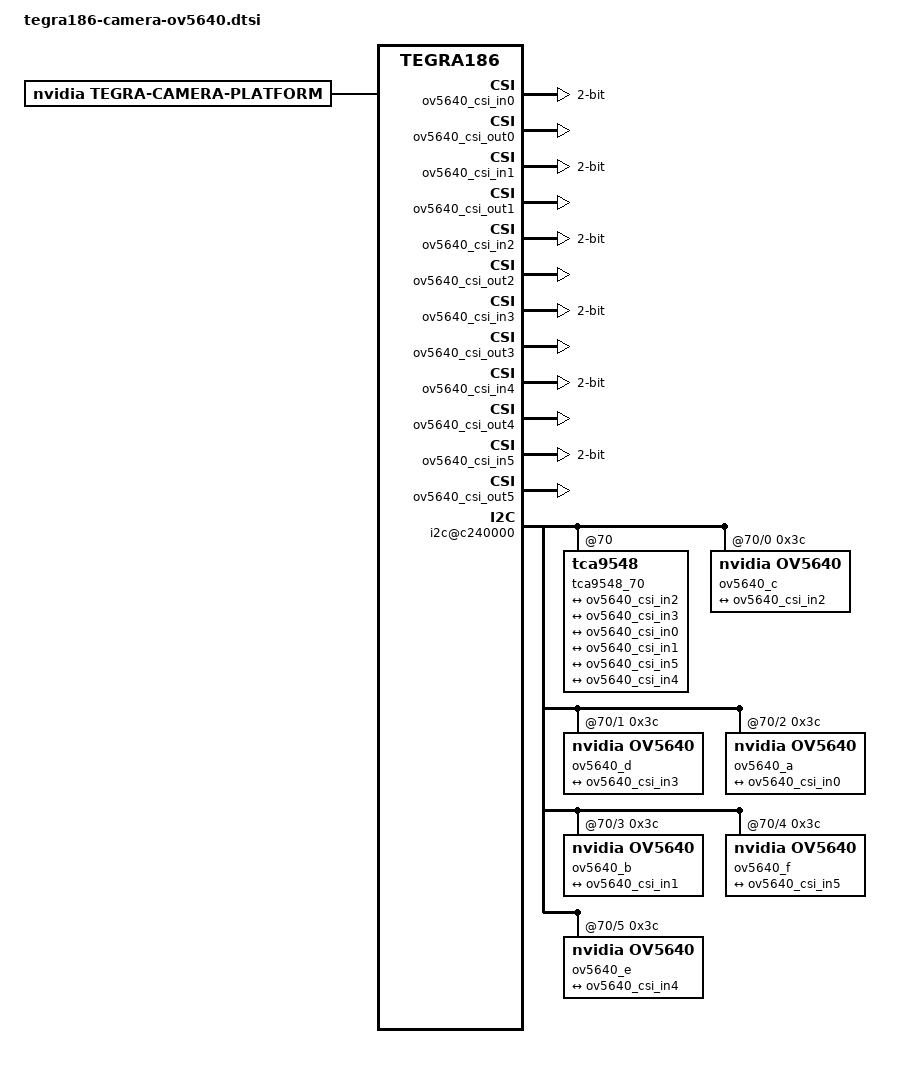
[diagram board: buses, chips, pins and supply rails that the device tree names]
/*
 * Copyright (c) 2015-2017, NVIDIA CORPORATION.  All rights reserved.
 *
 * This program is free software; you can redistribute it and/or modify
 * it under the terms of the GNU General Public License as published by
 * the Free Software Foundation; either version 2 of the License, or
 * (at your option) any later version.
 *
 * This program is distributed in the hope that it will be useful, but WITHOUT
 * ANY WARRANTY; without even the implied warranty of MERCHANTABILITY or
 * FITNESS FOR A PARTICULAR PURPOSE.  See the GNU General Public License for
 * more details.
 *
 * You should have received a copy of the GNU General Public License
 * along with this program.  If not, see <http://www.gnu.org/licenses/>.
 */
 
/ {
	host1x {
		vi@15700000 {
			num-channels = <6>;
            #address-cells = <1>;
            #size-cells = <0>;
			ports {
				#address-cells = <1>;
				#size-cells = <0>;
				port@0 {
					reg = <0>;
                    status = "okay";
					ov5640_vi_in0: endpoint {
                        status = "okay";
						port-index = <0>;
						bus-width = <2>;
						remote-endpoint = <&ov5640_csi_out0>;
					};
				};
				port@1 {
					reg = <1>;
                    status = "okay";
					ov5640_vi_in1: endpoint {
                        status = "okay";
						port-index = <1>;
						bus-width = <2>;
						remote-endpoint = <&ov5640_csi_out1>;
					};
				};
				port@2 {
					reg = <2>;
                    status = "okay";
					ov5640_vi_in2: endpoint {
                        status = "okay";
						port-index = <2>;
						bus-width = <2>;
						remote-endpoint = <&ov5640_csi_out2>;
					};
				};
				port@3 {
					reg = <3>;
                    status = "okay";
					ov5640_vi_in3: endpoint {
                        status = "okay";
						port-index = <3>;
						bus-width = <2>;
						remote-endpoint = <&ov5640_csi_out3>;
					};
				};
				port@4 {
					reg = <4>;
                    status = "okay";
					ov5640_vi_in4: endpoint {
                        status = "okay";
						port-index = <4>;
						bus-width = <2>;
						remote-endpoint = <&ov5640_csi_out4>;
					};
				};
				port@5 {
					reg = <5>;
                    status = "okay";
					ov5640_vi_in5: endpoint {
                        status = "okay";
						port-index = <5>;
						bus-width = <2>;
						remote-endpoint = <&ov5640_csi_out5>;
					};
				};
			};
		};

		nvcsi@150c0000 {
			num-channels = <6>;
            #address-cells = <1>;
            #size-cells = <0>;
			channel@0 {
				reg = <0>;
                status = "okay";
				ports {
					#address-cells = <1>;
					#size-cells = <0>;
					port@0 {
						reg = <0>;
                        status = "okay";
						ov5640_csi_in0: endpoint@0 {
                            status = "okay";
							port-index = <0>;
							bus-width = <2>;
							remote-endpoint = <&ov5640_out0>;
						};
					};
					port@1 {
						reg = <1>;
                        status = "okay";
						ov5640_csi_out0: endpoint@1 {
                            status = "okay";
							remote-endpoint = <&ov5640_vi_in0>;
						};
					};
				};
			};
			channel@1 {
				reg = <1>;
                status = "okay";
				ports {
					#address-cells = <1>;
					#size-cells = <0>;
					port@0 {
						reg = <0>;
                        status = "okay";
						ov5640_csi_in1: endpoint@0 {
                            status = "okay";
							port-index = <1>;
							bus-width = <2>;
							remote-endpoint = <&ov5640_out1>;
						};
					};
					port@1 {
						reg = <1>;
                        status = "okay";
						ov5640_csi_out1: endpoint@1 {
                            status = "okay";
							remote-endpoint = <&ov5640_vi_in1>;
						};
					};
				};
			};
			channel@2 {
				reg = <2>;
                status = "okay";
				ports {
					#address-cells = <1>;
					#size-cells = <0>;
					port@0 {
						reg = <0>;
                        status = "okay";
						ov5640_csi_in2: endpoint@0 {
                            status = "okay";
							port-index = <2>;
							bus-width = <2>;
							remote-endpoint = <&ov5640_out2>;
						};
					};
					port@1 {
						reg = <1>;
                        status = "okay";
						ov5640_csi_out2: endpoint@1 {
                            status = "okay";
							remote-endpoint = <&ov5640_vi_in2>;
						};
					};
				};
			};
			channel@3 {
				reg = <3>;
                status = "okay";
				ports {
					#address-cells = <1>;
					#size-cells = <0>;
					port@0 {
						reg = <0>;
                        status = "okay";
						ov5640_csi_in3: endpoint@0 {
                            status = "okay";
							port-index = <3>;
							bus-width = <2>;
							remote-endpoint = <&ov5640_out3>;
						};
					};
					port@1 {
						reg = <1>;
                        status = "okay";
						ov5640_csi_out3: endpoint@1 {
                            status = "okay";
							remote-endpoint = <&ov5640_vi_in3>;
						};
					};
				};
			};
			channel@4 {
				reg = <4>;
                status = "okay";
				ports {
					#address-cells = <1>;
					#size-cells = <0>;
					port@0 {
						reg = <0>;
                        status = "okay";
						ov5640_csi_in4: endpoint@0 {
                            status = "okay";
							port-index = <4>;
							bus-width = <2>;
							remote-endpoint = <&ov5640_out4>;
						};
					};
					port@1 {
						reg = <1>;
                        status = "okay";
						ov5640_csi_out4: endpoint@1 {
                            status = "okay";
							remote-endpoint = <&ov5640_vi_in4>;
						};
					};
				};
			};
			channel@5 {
				reg = <5>;
                status = "okay";
				ports {
					#address-cells = <1>;
					#size-cells = <0>;
					port@0 {
						reg = <0>;
                        status = "okay";
						ov5640_csi_in5: endpoint@0 {
                            status = "okay";
							port-index = <5>;
							bus-width = <2>;
							remote-endpoint = <&ov5640_out5>;
						};
					};
					port@1 {
						reg = <1>;
                        status = "okay";
						ov5640_csi_out5: endpoint@1 {
                            status = "okay";
							remote-endpoint = <&ov5640_vi_in5>;
						};
					};
				};
			};	
		};
	};

	i2c@c240000 {
		tca9548_70: tca9548@70 {
            status = "okay";
            i2c@0 {
                
                status = "okay";
				reg = <0>;
				i2c-mux,deselect-on-exit;
				#address-cells = <1>;
				#size-cells = <0>;
				
				ov5640_c@3c {
                    status = "okay";
					compatible = "nvidia,ov5640";
					/* I2C device address */
					reg = <0x3c>;

					/* V4L2 device node location */
					devnode = "video0";

					/* Physical dimensions of sensor */
					physical_w = "3.674";
					physical_h = "2.738";
                    
					/* Define any required hw resources needed by driver */
					/* ie. clocks, io pins, power sources */
					avdd-reg = "vana";
					iovdd-reg = "vif";

					/* Sensor output flip settings */
					vertical-flip = "true";

					mode0 { //OV5693_MODE_1920x1080
						mclk_khz = "24000";
						num_lanes = "2";
						tegra_sinterface = "serial_c";
                        phy_mode = "DPHY";
                        discontinuous_clk = "no";
						dpcm_enable = "false";
						cil_settletime = "0";

						active_w = "1920";
						active_h = "1080";
						pixel_t = "uyvy";
						readout_orientation = "90";
						line_length = "2500";
						inherent_gain = "1";
						pix_clk_hz = "160000000";
						mclk_multiplier = "6.67";

						min_gain_val = "0";
						max_gain_val = "48";
						min_hdr_ratio = "1";
						max_hdr_ratio = "1";
						min_framerate = "1.816577";
						max_framerate = "30";
						min_exp_time = "34";
						max_exp_time = "660000";
						embedded_metadata_height = "0";
					};

					ports {
						#address-cells = <1>;
						#size-cells = <0>;

						port@0 {
							reg = <0>;
                            status = "okay";
							ov5640_out2: endpoint {
                                status = "okay";
								port-index = <2>;
								bus-width = <2>;
								remote-endpoint = <&ov5640_csi_in2>;
							};
						};
					};
		
				};	
	
			};


			

			i2c@1 {
                
                status = "okay";
				reg = <1>;
				i2c-mux,deselect-on-exit;
				#address-cells = <1>;
				#size-cells = <0>;

				ov5640_d@3c {
                    status = "okay";
					devnode = "video1";
					compatible = "nvidia,ov5640";
					/* I2C device address */
					reg = <0x3c>;

					/* V4L2 device node location */

					/* Physical dimensions of sensor */
					physical_w = "3.674";
					physical_h = "2.738";

					/* Define any required hw resources needed by driver */
					/* ie. clocks, io pins, power sources */
					avdd-reg = "vana";
					iovdd-reg = "vif";

					/* Sensor output flip settings */
					vertical-flip = "true";	

					mode0 { //OV5693_MODE_1920x1080
						mclk_khz = "24000";
						num_lanes = "2";
						tegra_sinterface = "serial_d";
                        phy_mode = "DPHY";
						discontinuous_clk = "no";
						dpcm_enable = "false";
						cil_settletime = "0";

						active_w = "1920";
						active_h = "1080";
						pixel_t = "uyvy";
						readout_orientation = "90";
						line_length = "2500";
						inherent_gain = "1";
						pix_clk_hz = "160000000";
						mclk_multiplier = "6.67";

						min_gain_val = "0";
						max_gain_val = "48";
						min_hdr_ratio = "1";
						max_hdr_ratio = "1";
						min_framerate = "1.816577";
						max_framerate = "30";
						min_exp_time = "34";
						max_exp_time = "660000";
						embedded_metadata_height = "0";
					};

					ports {
						#address-cells = <1>;
						#size-cells = <0>;

						port@0 {
							reg = <0>;
                            status = "okay";
							ov5640_out3: endpoint {
                                status = "okay";
								port-index = <3>;
								bus-width = <2>;
								remote-endpoint = <&ov5640_csi_in3>;
							};
						};
					};
		
				};		

			};

			i2c@2 {

                status = "okay";
				reg = <2>;
				i2c-mux,deselect-on-exit;
				#address-cells = <1>;
				#size-cells = <0>;
                
                ov5640_a@3c {
                    status = "okay";
					devnode = "video2";
					compatible = "nvidia,ov5640";
					/* I2C device address */
					reg = <0x3c>;

					/* V4L2 device node location */

					/* Physical dimensions of sensor */
					physical_w = "3.674";
					physical_h = "2.738";

					/* Define any required hw resources needed by driver */
					/* ie. clocks, io pins, power sources */
					avdd-reg = "vana";
					iovdd-reg = "vif";

					/* Sensor output flip settings */
					vertical-flip = "true";

					mode0 { //OV5693_MODE_1920x1080
						mclk_khz = "24000";
						num_lanes = "2";
						tegra_sinterface = "serial_a";
                        phy_mode = "DPHY";
						discontinuous_clk = "no";
						dpcm_enable = "false";
						cil_settletime = "0";

						active_w = "1920";
						active_h = "1080";
						pixel_t = "uyvy";
						readout_orientation = "90";
						line_length = "2500";
						inherent_gain = "1";
						pix_clk_hz = "160000000";
						mclk_multiplier = "6.67";

						min_gain_val = "0";
						max_gain_val = "48";
						min_hdr_ratio = "1";
						max_hdr_ratio = "1";
						min_framerate = "1.816577";
						max_framerate = "30";
						min_exp_time = "34";
						max_exp_time = "660000";
						embedded_metadata_height = "0";
					};
				
					ports {
						#address-cells = <1>;
						#size-cells = <0>;

						port@0 {
							reg = <0>;
                            status = "okay";
							ov5640_out0: endpoint {
                                status = "okay";
								port-index = <0>;
								bus-width = <2>;
								remote-endpoint = <&ov5640_csi_in0>;
							};
						};
					};
		
				};	
			

			};

			i2c@3 {
                
                status = "okay";
				reg = <3>;
				i2c-mux,deselect-on-exit;
				#address-cells = <1>;
				#size-cells = <0>;

				ov5640_b@3c {
                    status = "okay";
					devnode = "video3";
					compatible = "nvidia,ov5640";
					/* I2C device address */
					reg = <0x3c>;

					/* V4L2 device node location */

					/* Physical dimensions of sensor */
					physical_w = "3.674";
					physical_h = "2.738";

					/* Define any required hw resources needed by driver */
					/* ie. clocks, io pins, power sources */
					avdd-reg = "vana";
					iovdd-reg = "vif";

					/* Sensor output flip settings */
					vertical-flip = "true";
		
					mode0 { //OV5693_MODE_1920x1080
						mclk_khz = "24000";
						num_lanes = "2";
						tegra_sinterface = "serial_b";
                        phy_mode = "DPHY";
						discontinuous_clk = "no";
						dpcm_enable = "false";
						cil_settletime = "0";

						active_w = "1920";
						active_h = "1080";
						pixel_t = "uyvy";
						readout_orientation = "90";
						line_length = "2500";
						inherent_gain = "1";
						pix_clk_hz = "160000000";
						mclk_multiplier = "6.67";

						min_gain_val = "0";
						max_gain_val = "48";
						min_hdr_ratio = "1";
						max_hdr_ratio = "1";
						min_framerate = "1.816577";
						max_framerate = "30";
						min_exp_time = "34";
						max_exp_time = "660000";
						embedded_metadata_height = "0";
					};
					
					ports {
						#address-cells = <1>;
						#size-cells = <0>;

						port@0 {
							reg = <0>;
                            status = "okay";
							ov5640_out1: endpoint {
                                status = "okay";
								port-index = <1>;
								bus-width = <2>;
								remote-endpoint = <&ov5640_csi_in1>;
							};
						};
					};
		
				};

			};

			i2c@4 {
                
                status = "okay";
				reg = <4>;
				i2c-mux,deselect-on-exit;
				#address-cells = <1>;
				#size-cells = <0>;

				ov5640_f@3c {
                    status = "okay";
					devnode = "video4";
					compatible = "nvidia,ov5640";
					/* I2C device address */
					reg = <0x3c>;

					/* V4L2 device node location */

					/* Physical dimensions of sensor */
					physical_w = "3.674";
					physical_h = "2.738";

					/* Define any required hw resources needed by driver */
					/* ie. clocks, io pins, power sources */
					avdd-reg = "vana";
					iovdd-reg = "vif";

					/* Sensor output flip settings */
					vertical-flip = "true";
				
					mode0 { //OV5693_MODE_1920x1080
						mclk_khz = "24000";
						num_lanes = "2";
						tegra_sinterface = "serial_f";
                        phy_mode = "DPHY";
						discontinuous_clk = "no";
						dpcm_enable = "false";
						cil_settletime = "0";

						active_w = "1920";
						active_h = "1080";
						pixel_t = "uyvy";
						readout_orientation = "90";
						line_length = "2500";
						inherent_gain = "1";
						pix_clk_hz = "160000000";
						mclk_multiplier = "6.67";

						min_gain_val = "0";
						max_gain_val = "48";
						min_hdr_ratio = "1";
						max_hdr_ratio = "1";
						min_framerate = "1.816577";
						max_framerate = "30";
						min_exp_time = "34";
						max_exp_time = "660000";
						embedded_metadata_height = "0";
					};

					ports {
						#address-cells = <1>;
						#size-cells = <0>;

						port@0 {
							reg = <0>;
                            status = "okay";
							ov5640_out5: endpoint {
                                status = "okay";
								port-index = <5>;
								bus-width = <2>;
								remote-endpoint = <&ov5640_csi_in5>;
							};
						};
					};
		
				};

			};

			i2c@5 {
                
                status = "okay";
				reg = <5>;
				i2c-mux,deselect-on-exit;
				#address-cells = <1>;
				#size-cells = <0>;

				ov5640_e@3c {
                    status = "okay";
					devnode = "video5";
					compatible = "nvidia,ov5640";
					/* I2C device address */
					reg = <0x3c>;

					/* V4L2 device node location */

					/* Physical dimensions of sensor */
					physical_w = "3.674";
					physical_h = "2.738";

					/* Define any required hw resources needed by driver */
					/* ie. clocks, io pins, power sources */
					avdd-reg = "vana";
					iovdd-reg = "vif";

					/* Sensor output flip settings */
					vertical-flip = "true";
	
					mode0 { //OV5693_MODE_1920x1080
						mclk_khz = "24000";
						num_lanes = "2";
						tegra_sinterface = "serial_e";
                        phy_mode = "DPHY";
						discontinuous_clk = "no";
						dpcm_enable = "false";
						cil_settletime = "0";

						active_w = "1920";
						active_h = "1080";
						pixel_t = "uyvy";
						readout_orientation = "90";
						line_length = "2500";
                        inherent_gain = "1";
						pix_clk_hz = "160000000";
						mclk_multiplier = "6.67";
                        
						min_gain_val = "0";
						max_gain_val = "48";
						min_hdr_ratio = "1";
						max_hdr_ratio = "1";
						min_framerate = "1.816577";
						max_framerate = "30";
						min_exp_time = "34";
						max_exp_time = "660000";
						embedded_metadata_height = "0";
					};

					ports {
						#address-cells = <1>;
						#size-cells = <0>;

						port@0 {
							reg = <0>;
                            status = "okay";
							ov5640_out4: endpoint {
                                status = "okay";
								port-index = <4>;
								bus-width = <2>;
								remote-endpoint = <&ov5640_csi_in4>;
							};
						};
					};
		
				};

			};

			i2c@6 {

				reg = <6>;

				i2c-mux,deselect-on-exit;

				#address-cells = <1>;

				#size-cells = <0>;

			};

			i2c@7 {

				reg = <7>;

				i2c-mux,deselect-on-exit;

				#address-cells = <1>;

				#size-cells = <0>;

		    };
        };
    };
};  

/ {
    tegra-camera-platform {
		compatible = "nvidia, tegra-camera-platform";
		/**
		* Physical settings to calculate max ISO BW
		*
		* num_csi_lanes = <>;
		* Total number of CSI lanes when all cameras are active
		*
		* max_lane_speed = <>;
		* Max lane speed in Kbit/s
		*
		* min_bits_per_pixel = <>;
		* Min bits per pixel
		*
		* vi_peak_byte_per_pixel = <>;
		* Max byte per pixel for the VI ISO case
		*
		* vi_bw_margin_pct = <>;
		* Vi bandwidth margin in percentage
		*
		* max_pixel_rate = <>;
		* Max pixel rate in Kpixel/s for the ISP ISO case
		*
		* isp_peak_byte_per_pixel = <>;
		* Max byte per pixel for the ISP ISO case
		*
		* isp_bw_margin_pct = <>;
		* Isp bandwidth margin in percentage
		*/
		num_csi_lanes = <12>;
		max_lane_speed = <1500000>;
		min_bits_per_pixel = <10>;
		vi_peak_byte_per_pixel = <2>;
		vi_bw_margin_pct = <25>;
		max_pixel_rate = <160000>;
		isp_peak_byte_per_pixel = <5>;
		isp_bw_margin_pct = <25>;

		/**
		* The general guideline for naming badge_info contains 3 parts, and is as follows,
		* The first part is the camera_board_id for the module; if the module is in a FFD
		* platform, then use the platform name for this part.
		* The second part contains the position of the module, ex. “rear” or “front”.
		* The third part contains the last 6 characters of a part number which is found
		* in the module's specsheet from the vender.
		*/
		modules {
			module0 {
                status = "okay";
				badge = "ov5640_topleft_ov";
				position = "topleft";
				orientation = "1";
				drivernode0 {
                    status = "okay";
					/* Declare PCL support driver (classically known as guid)  */
					pcl_id = "v4l2_sensor";
					/* Driver v4l2 device name */
					devname = "ov5640 30-003c";
					/* Declare the device-tree hierarchy to driver instance */
					proc-device-tree = "/proc/device-tree/i2c@c240000/tca9548@70/i2c@0/ov5640_c@3c";
				};
				
			};
			module1 {
                status = "okay";
				badge = "ov5640_topright_ov";
				position = "topright";
				orientation = "1";
				drivernode0 {
                    status = "okay";
					/* Declare PCL support driver (classically known as guid)  */
					pcl_id = "v4l2_sensor";
					/* Driver v4l2 device name */
					devname = "ov5640 31-003c";
					/* Declare the device-tree hierarchy to driver instance */
					proc-device-tree = "/proc/device-tree/i2c@c240000/tca9548@70/i2c@1/ov5640_d@3c";
				};
				
			};
			module2 {
                status = "okay";
				badge = "ov5640_bottomleft_ov";
				position = "bottomleft";
				orientation = "1";
				drivernode0 {
                    status = "okay";
					/* Declare PCL support driver (classically known as guid)  */
					pcl_id = "v4l2_sensor";
					/* Driver v4l2 device name */
					devname = "ov5640 32-003c";
					/* Declare the device-tree hierarchy to driver instance */
					proc-device-tree = "/proc/device-tree/i2c@c240000/tca9548@70/i2c@2/ov5640_a@3c";
				};
				
			};
			module3 {
                status = "okay";
				badge = "ov5640_bottomright_ov";
				position = "bottomright";
				orientation = "1";
				drivernode0 {
                    status = "okay";
					/* Declare PCL support driver (classically known as guid)  */
					pcl_id = "v4l2_sensor";
					/* Driver v4l2 device name */
					devname = "ov5640 33-003c";
					/* Declare the device-tree hierarchy to driver instance */
					proc-device-tree = "/proc/device-tree/i2c@c240000/tca9548@70/i2c@3/ov5640_b@3c";
				};
				
			};

			module4 {
                status = "okay";
				badge = "ov5640_centerleft_ov";
				position = "centerleft";
				orientation = "1";
				drivernode0 {
                    status = "okay";
					/* Declare PCL support driver (classically known as guid)  */
					pcl_id = "v4l2_sensor";
					/* Driver v4l2 device name */
					devname = "ov5640 34-003c";
					/* Declare the device-tree hierarchy to driver instance */
					proc-device-tree = "/proc/device-tree/i2c@c240000/tca9548@70/i2c@4/ov5640_f@3c";
				};
				
			};
			module5 {
                status = "okay";
				badge = "ov5640_centerright_ov";
				position = "centerright";
				orientation = "1";
				drivernode0 {
                    status = "okay";
					/* Declare PCL support driver (classically known as guid)  */
					pcl_id = "v4l2_sensor";
					/* Driver v4l2 device name */
					devname = "ov5640 35-003c";
					/* Declare the device-tree hierarchy to driver instance */
					proc-device-tree = "/proc/device-tree/i2c@c240000/tca9548@70/i2c@5/ov5640_e@3c";
				};
				
			};
		};
	};
};
